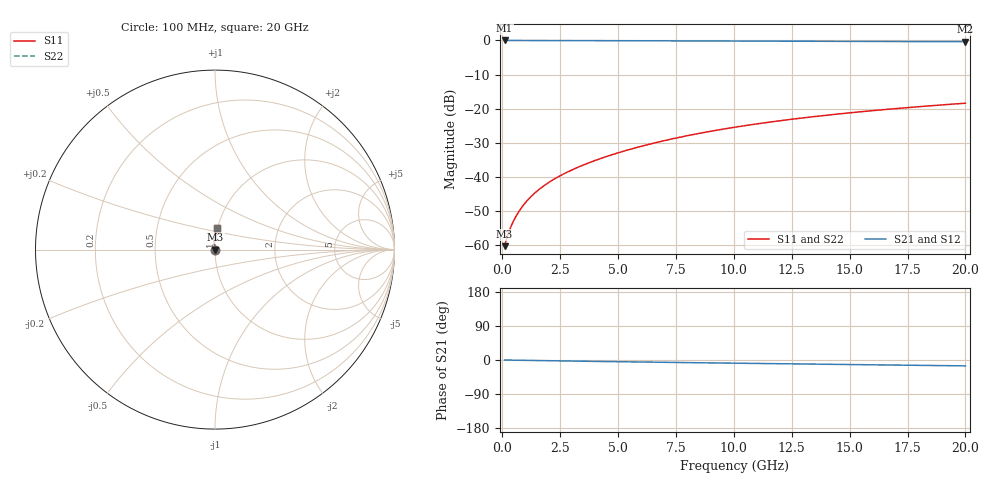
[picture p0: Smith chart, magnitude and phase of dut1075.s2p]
! Touchstone file exported from HFSS 2024.1.0
!  File:  C:/UserFiles/LocalFiles/RDL_TSV_Batchsim/temp_RDL_bottom_1075_1780052930.aedt
!  Generated:  07:11:15 PM May 29, 2026
!  Design:  RDL_bottom
!  Project:  temp_RDL_bottom_1075_1780052930
!  Setup:  Setup1
!  Solution:  Sweep
! Variables:
!  dtsv = 10.80580581um
!  hbump = 3um
!  htsv = 68.49um
!  ldown = 241.62um
!  lrdl = 100um
!  p = 40
!  p1 = 43.17um
!  rhole = 1um
!  t = 450um
!  tdown = 4.94um
!  trdl = 3.915915916um
!  wdown = 27.66um
!  wrdl = 20um
# GHz S MA R 50.000000
! Terminal data exported
! Port[1] = RDL1_T1
! Port[2] = RDL1_T2
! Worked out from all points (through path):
!   200 points, 100 MHz to 20 GHz, reference 50 ohm
!   highest |S21| = -0.01 dB at 100 MHz (marker M1); lowest = -0.4 dB at 20 GHz (marker M2)
!   group delay of S21, straight-line fit = 2.11 ps
!   lowest |S11| = -60.3 dB at 100 MHz (marker M3), VSWR 1.00, Z = 50.1 + j0.0515 ohm
!   |S11| at or under -10 dB: start of sweep to end of sweep
!   |S22| runs from -60.3 to -18.4 dB; largest |S21 - S12| = 5.3e-15
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0.1  0.0009688 32.0  0.9992 -0.1  0.9992 -0.1  0.0009688 32.0
! Gamma 0 0 0 0
! Port Impedance 50 0 50 0
0.2  0.001299 46.4  0.9991 -0.2  0.9991 -0.2  0.001299 46.4
0.3  0.001629 54.9  0.999 -0.3  0.999 -0.3  0.001629 54.9
0.5  0.00232 65.8  0.9988 -0.5  0.9988 -0.5  0.00232 65.8
0.6  0.002683 69.5  0.9988 -0.6  0.9988 -0.6  0.002683 69.5
0.8  0.003435 74.7  0.9986 -0.8  0.9986 -0.8  0.003436 74.7
1  0.00421 78.3  0.9985 -1.0  0.9985 -1.0  0.00421 78.3
1.2  0.005001 80.9  0.9983 -1.1  0.9983 -1.1  0.005001 80.9
1.4  0.005804 83.0  0.9981 -1.3  0.9981 -1.3  0.005804 83.0
1.7  0.007029 85.4  0.9977 -1.6  0.9977 -1.6  0.007029 85.4
2.2  0.009125 88.4  0.997 -2.1  0.997 -2.1  0.009125 88.4
2.8  0.01174 91.0  0.9959 -2.6  0.9959 -2.6  0.01174 91.0
3.5  0.01497 93.3  0.9944 -3.2  0.9944 -3.2  0.01497 93.3
4.2  0.01839 94.9  0.9928 -3.8  0.9928 -3.8  0.01839 94.9
5  0.02257 96.2  0.9908 -4.5  0.9908 -4.5  0.02257 96.2
6.8  0.03287 97.3  0.9862 -6.0  0.9862 -6.0  0.03287 97.3
8.4  0.04283 97.0  0.9821 -7.2  0.9821 -7.2  0.04283 97.0
10.1  0.05394 95.8  0.9781 -8.5  0.9781 -8.5  0.05394 95.8
11.7  0.06466 94.3  0.9746 -9.6  0.9746 -9.6  0.06466 94.3
13.4  0.07615 92.5  0.9711 -10.9  0.9711 -10.9  0.07615 92.5
16.7  0.09843 88.9  0.9651 -13.2  0.9651 -13.2  0.09842 88.9
20  0.1203 85.4  0.9595 -15.5  0.9595 -15.5  0.1203 85.4
